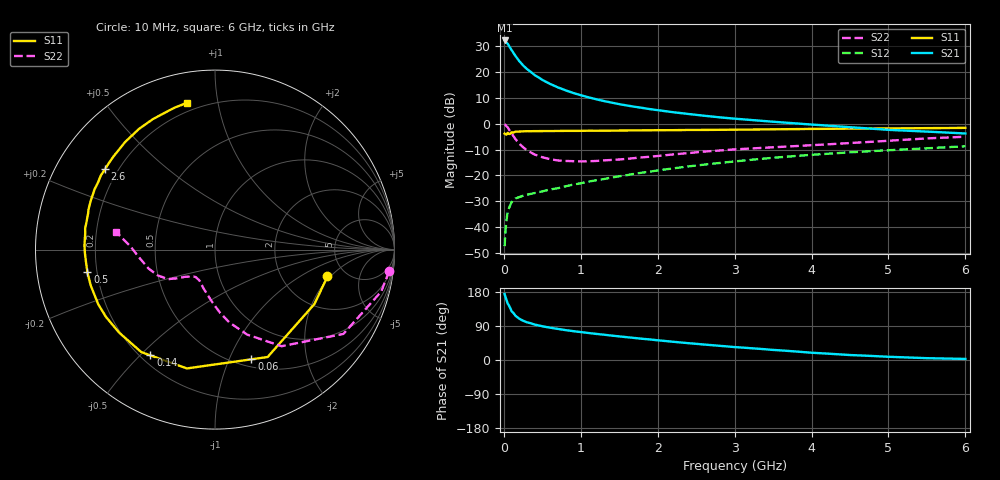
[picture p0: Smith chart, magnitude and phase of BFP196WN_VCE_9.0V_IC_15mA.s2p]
! (c) 2017  Infineon Technologies AG, Munich
! Infineon Technologies  Discrete & RF Semiconductors
! BFP196WN
! VCE =  9.0 V,  IC =  15 mA
! Common Emitter S-Parameters:  Jan 2017
# GHz  S  MA  R  50
!  f  S11  S21  S12  S22
! GHz  MAG  ANG  MAG  ANG  MAG  ANG  MAG  ANG
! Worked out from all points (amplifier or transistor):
!   77 points, 10 MHz to 6 GHz, reference 50 ohm
!   highest |S21| = 32.2 dB at 10 MHz (marker M1)
!   |S21| within 3 dB of that: start of sweep to 85.11 MHz
!   unconditionally stable (mu >= 1): 1.011 GHz to 2.63 GHz
!   at 130 MHz: K = 0.25, MSG = 28.3 dB, |S12| = -29.4 dB
!   at 2.2 GHz: K = 1.04, MAG = 9.7 dB, |S12| = -17.3 dB
!   at 6 GHz: K = 0.86, MSG = 2.5 dB, |S12| = -8.7 dB
!   S11 on the Smith chart (normalised r, x): 10 MHz: 3.62, -1.85; 60 MHz: 0.58, -1.21; 140 MHz: 0.24, -0.54; 500 MHz: 0.16, -0.09; 2.6 GHz: 0.15, +0.32; 6 GHz: 0.15, +0.81
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0.01  0.6443 -13.4  40.73 174.0  0.0043 84.0  0.9782 -7.0
0.02  0.6316 -28.7  38.87 166.6  0.008 82.0  0.955 -14.2
0.05  0.6664 -63.9  35.35 149.0  0.0198 63.7  0.8558 -33.3
0.06  0.6441 -71.6  33.34 145.9  0.0218 59.5  0.8073 -36.8
0.1  0.6804 -103.3  26.64 129.0  0.0305 48.5  0.6539 -55.4
0.14  0.6905 -121.4  21.65 119.9  0.0348 42.7  0.5337 -65.8
0.15  0.7034 -125.7  20.52 117.0  0.0359 41.5  0.5072 -69.2
0.2  0.7066 -139.1  16.29 109.1  0.0382 38.4  0.4133 -78.9
0.25  0.714 -148.3  13.45 103.6  0.0406 37.6  0.3524 -85.5
0.3  0.7182 -154.9  11.42 99.6  0.0424 37.6  0.3064 -91.1
0.4  0.7207 -164.0  8.74 93.4  0.0458 39.4  0.2545 -99.6
0.5  0.722 -169.9  7.041 89.0  0.0493 41.9  0.2253 -106.5
0.7  0.7249 -178.3  5.059 82.1  0.0566 47.5  0.1952 -115.5
0.9  0.7276 175.4  3.945 76.2  0.0665 51.5  0.189 -121.7
1.1  0.7331 170.7  3.24 71.3  0.0759 54.9  0.1884 -126.3
1.5  0.7391 162.5  2.393 62.3  0.0965 58.6  0.2037 -133.3
2.1  0.7506 151.9  1.75 50.1  0.131 60.3  0.2466 -140.7
2.6  0.7591 143.7  1.43 40.8  0.1619 59.6  0.2894 -145.9
3.1  0.7692 135.9  1.22 32.8  0.1933 57.4  0.3255 -151.3
4.1  0.7961 120.7  0.943 18.1  0.2565 51.2  0.3919 -166.2
5.1  0.8139 109.2  0.75 7.8  0.3128 43.8  0.4787 177.0
6  0.8321 100.9  0.647 2.8  0.3674 37.4  0.561 169.8
